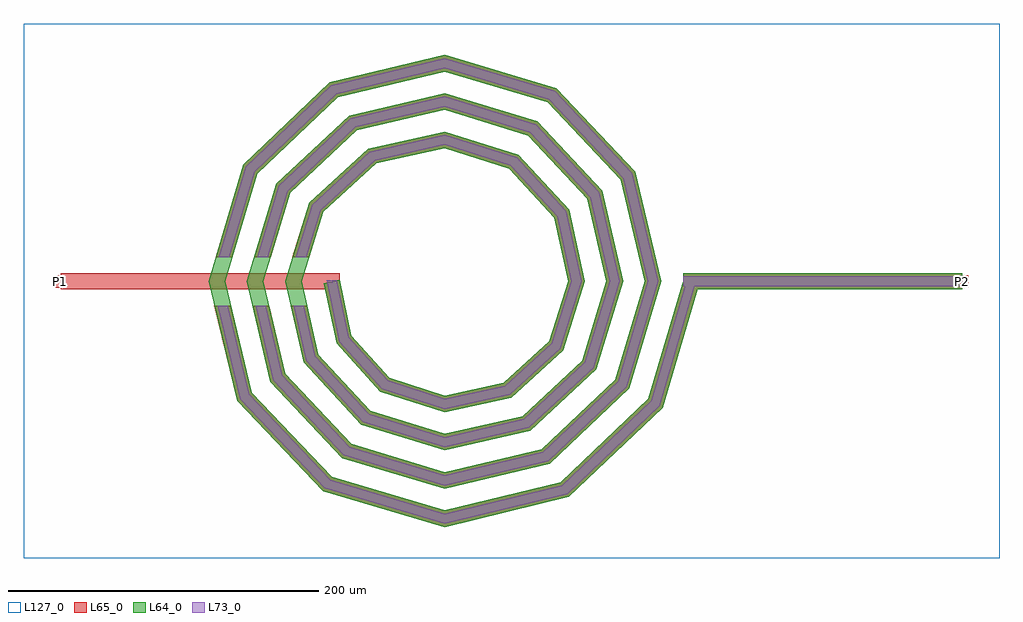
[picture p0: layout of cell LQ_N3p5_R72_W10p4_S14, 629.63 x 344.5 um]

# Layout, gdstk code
import gdstk
lib = gdstk.Library(unit=1e-6, precision=1e-09)
def R(c, l, rs):  # rectangles x0, y0, x1, y1
    for r in rs: c.add(gdstk.rectangle(r[:2], r[2:], *l))
def P(c, l, *ps):  # polygons
    for p in ps: c.add(gdstk.Polygon(p, *l))
L64_0 = (64, 0)
L65_0 = (65, 0)
L73_0 = (73, 0)
L127_0 = (127, 0)

lq_n3p5_r72_w10p4_s14 = lib.new_cell('LQ_N3p5_R72_W10p4_S14')
R(lq_n3p5_r72_w10p4_s14, L64_0, [(154.007,-5.2,334.007,5.2)])
P(lq_n3p5_r72_w10p4_s14, L64_0, [(-60.056,-34.992),(-35.549,-62.109),(0.261,-73.618),(38.058,-65.409),(67.441,-38.651),(79.788,0.242),(70.761,41.127),(41.75,72.776),(0.226,85.957),(-44.198,76.111),(-78.111,44.848),(-92.127,0.212),(-81.461,-47.271),(-47.944,-83.448),(0.199,-98.296),(50.346,-86.81),(88.785,-51.039),(104.466,0.188),(92.159,53.421),(54.133,94.123),(0.178,110.636),(-56.498,97.507),(-99.461,57.225),(-116.805,0.169),(-102.854,-59.575),(-60.318,-104.8),(0.161,-122.975),(62.653,-108.201),(110.14,-63.409),(129.145,0.154),(113.548,65.732),(66.5,115.479),(0.147,135.315),(-68.811,118.895),(-120.82,69.59),(-141.485,0.141),(-124.241,-71.891),(-72.68,-126.16),(0.135,-147.655),(74.971,-129.587),(131.501,-75.77),(154.218,1.467),(164.195,-1.467),(140.691,-81.38),(80.122,-139.042),(0.135,-158.418),(-78.299,-135.345),(-133.702,-77.032),(-152.248,0.141),(-129.998,75.219),(-73.942,128.361),(0.147,146.078),(72.14,124.652),(123.021,70.851),(139.908,0.154),(119.305,-69.061),(67.76,-117.681),(0.161,-133.738),(-65.982,-113.957),(-112.341,-64.668),(-127.568,0.169),(-108.61,62.904),(-61.576,107.002),(0.178,121.397),(59.827,103.261),(101.663,58.482),(115.227,0.188),(97.913,-56.751),(55.388,-96.325),(0.199,-109.057),(-53.676,-92.563),(-90.987,-52.292),(-102.886,0.212),(-87.213,50.602),(-49.195,85.65),(0.226,96.716),(47.53,81.861),(80.314,46.096),(90.545,0.242),(76.509,-44.459),(42.995,-74.979),(0.261,-84.374),(-41.391,-71.155),(-69.645,-39.891),(-77.912,-1.083),(-67.741,1.083)])
R(lq_n3p5_r72_w10p4_s14, L65_0, [(-247.626,-5.2,-67.626,5.2), (154.007,-5.2,334.007,5.2), (-251.626,-4,-243.626,4), (330.007,-4,338.007,4)])
P(lq_n3p5_r72_w10p4_s14, L65_0, [(-124.241,-71.891),(-72.681,-126.16),(0.135,-147.655),(74.971,-129.587),(131.501,-75.77),(154.218,1.467),(164.195,-1.467),(140.691,-81.38),(80.122,-139.042),(0.135,-158.419),(-78.299,-135.345),(-133.702,-77.032),(-148.466,-15.6),(-137.769,-15.6)],
  [(-102.854,-59.575),(-60.318,-104.8),(0.161,-122.975),(62.653,-108.202),(110.14,-63.409),(129.145,0.154),(113.548,65.732),(66.5,115.479),(0.147,135.315),(-68.811,118.895),(-120.82,69.591),(-136.82,15.6),(-147.667,15.6),(-129.999,75.219),(-73.942,128.361),(0.147,146.078),(72.14,124.652),(123.021,70.851),(139.908,0.154),(119.305,-69.061),(67.76,-117.681),(0.161,-133.738),(-65.982,-113.957),(-112.341,-64.668),(-123.864,-15.6),(-113.182,-15.6)],
  [(-81.461,-47.271),(-47.944,-83.448),(0.199,-98.296),(50.346,-86.81),(88.785,-51.039),(104.466,0.188),(92.159,53.421),(54.133,94.123),(0.178,110.636),(-56.498,97.507),(-99.461,57.226),(-112.04,15.6),(-122.905,15.6),(-108.61,62.904),(-61.576,107.002),(0.178,121.397),(59.827,103.261),(101.663,58.482),(115.227,0.188),(97.913,-56.751),(55.388,-96.325),(0.199,-109.057),(-53.676,-92.563),(-90.987,-52.292),(-99.303,-15.6),(-88.639,-15.6)],
  [(-35.549,-62.109),(0.261,-73.618),(38.058,-65.409),(67.441,-38.651),(79.788,0.242),(70.761,41.127),(41.75,72.776),(0.226,85.957),(-44.198,76.111),(-78.111,44.848),(-87.208,15.6),(-98.1,15.6),(-87.213,50.602),(-49.195,85.65),(0.226,96.716),(47.53,81.861),(80.314,46.096),(90.545,0.242),(76.509,-44.459),(42.995,-74.979),(0.261,-84.374),(-41.391,-71.155),(-69.645,-39.892),(-77.912,-1.083),(-67.741,1.083),(-60.056,-34.992)])
R(lq_n3p5_r72_w10p4_s14, L73_0, [(154.007,-3.2,334.007,3.2)])
P(lq_n3p5_r72_w10p4_s14, L73_0, [(-126.06,-72.88),(-73.761,-127.926),(0.083,-149.725),(75.962,-131.405),(133.268,-76.849),(156.137,0.903),(162.277,0.903),(138.924,-80.301),(79.132,-137.224),(0.083,-156.349),(-77.219,-133.579),(-131.882,-76.044),(-146.409,-15.6),(-139.826,-15.6)],
  [(-104.679,-60.554),(-61.407,-106.561),(0.099,-125.045),(63.635,-110.024),(111.902,-64.496),(131.215,0.095),(115.37,66.716),(67.585,117.243),(0.09,137.385),(-69.798,120.715),(-122.585,70.673),(-138.906,15.6),(-145.581,15.6),(-128.233,74.137),(-72.955,126.541),(0.09,144.008),(71.055,122.888),(121.199,69.867),(137.838,0.095),(117.542,-67.974),(66.778,-115.858),(0.099,-131.668),(-64.893,-112.196),(-110.517,-63.689),(-121.81,-15.6),(-115.236,-15.6)],
  [(-83.293,-48.237),(-49.046,-85.201),(0.123,-100.366),(51.315,-88.64),(90.54,-52.137),(106.535,0.116),(93.987,54.394),(55.228,95.88),(0.11,112.705),(-57.474,99.333),(-101.221,58.318),(-114.129,15.6),(-120.815,15.6),(-106.85,61.812),(-60.599,105.176),(0.11,119.328),(58.732,101.504),(99.835,57.509),(113.158,0.116),(96.157,-55.653),(54.418,-94.495),(0.123,-106.987),(-52.574,-90.81),(-89.155,-51.326),(-97.252,-15.6),(-90.69,-15.6)],
  [(-36.672,-63.848),(0.161,-75.687),(39.007,-67.249),(69.185,-39.768),(81.856,0.149),(72.598,42.083),(42.862,74.523),(0.139,88.026),(-45.159,77.946),(-79.861,45.954),(-89.303,15.6),(-96.005,15.6),(-85.462,49.496),(-48.234,83.816),(0.139,94.647),(46.418,80.114),(78.477,45.141),(88.476,0.149),(74.765,-43.342),(42.046,-73.139),(0.161,-82.306),(-40.268,-69.415),(-67.801,-38.949),(-75.956,0.667),(-69.697,0.667),(-61.9,-35.934)])
R(lq_n3p5_r72_w10p4_s14, L127_0, [(-271.626,-178.419,358.007,166.078)])
lq_n3p5_r72_w10p4_s14.add(gdstk.Label('P2', (334.007,0), layer=65, texttype=0))
lq_n3p5_r72_w10p4_s14.add(gdstk.Label('P1', (-247.626,0), layer=65, texttype=0))
lq_n3p5_r72_w10p4_s14.add(gdstk.Label('P2', (338.007,0), layer=145, texttype=0))
lq_n3p5_r72_w10p4_s14.add(gdstk.Label('P1', (-251.626,0), layer=145, texttype=0))

lib.write_gds('LQ_N3p5_R72_W10p4_S14.gds')
